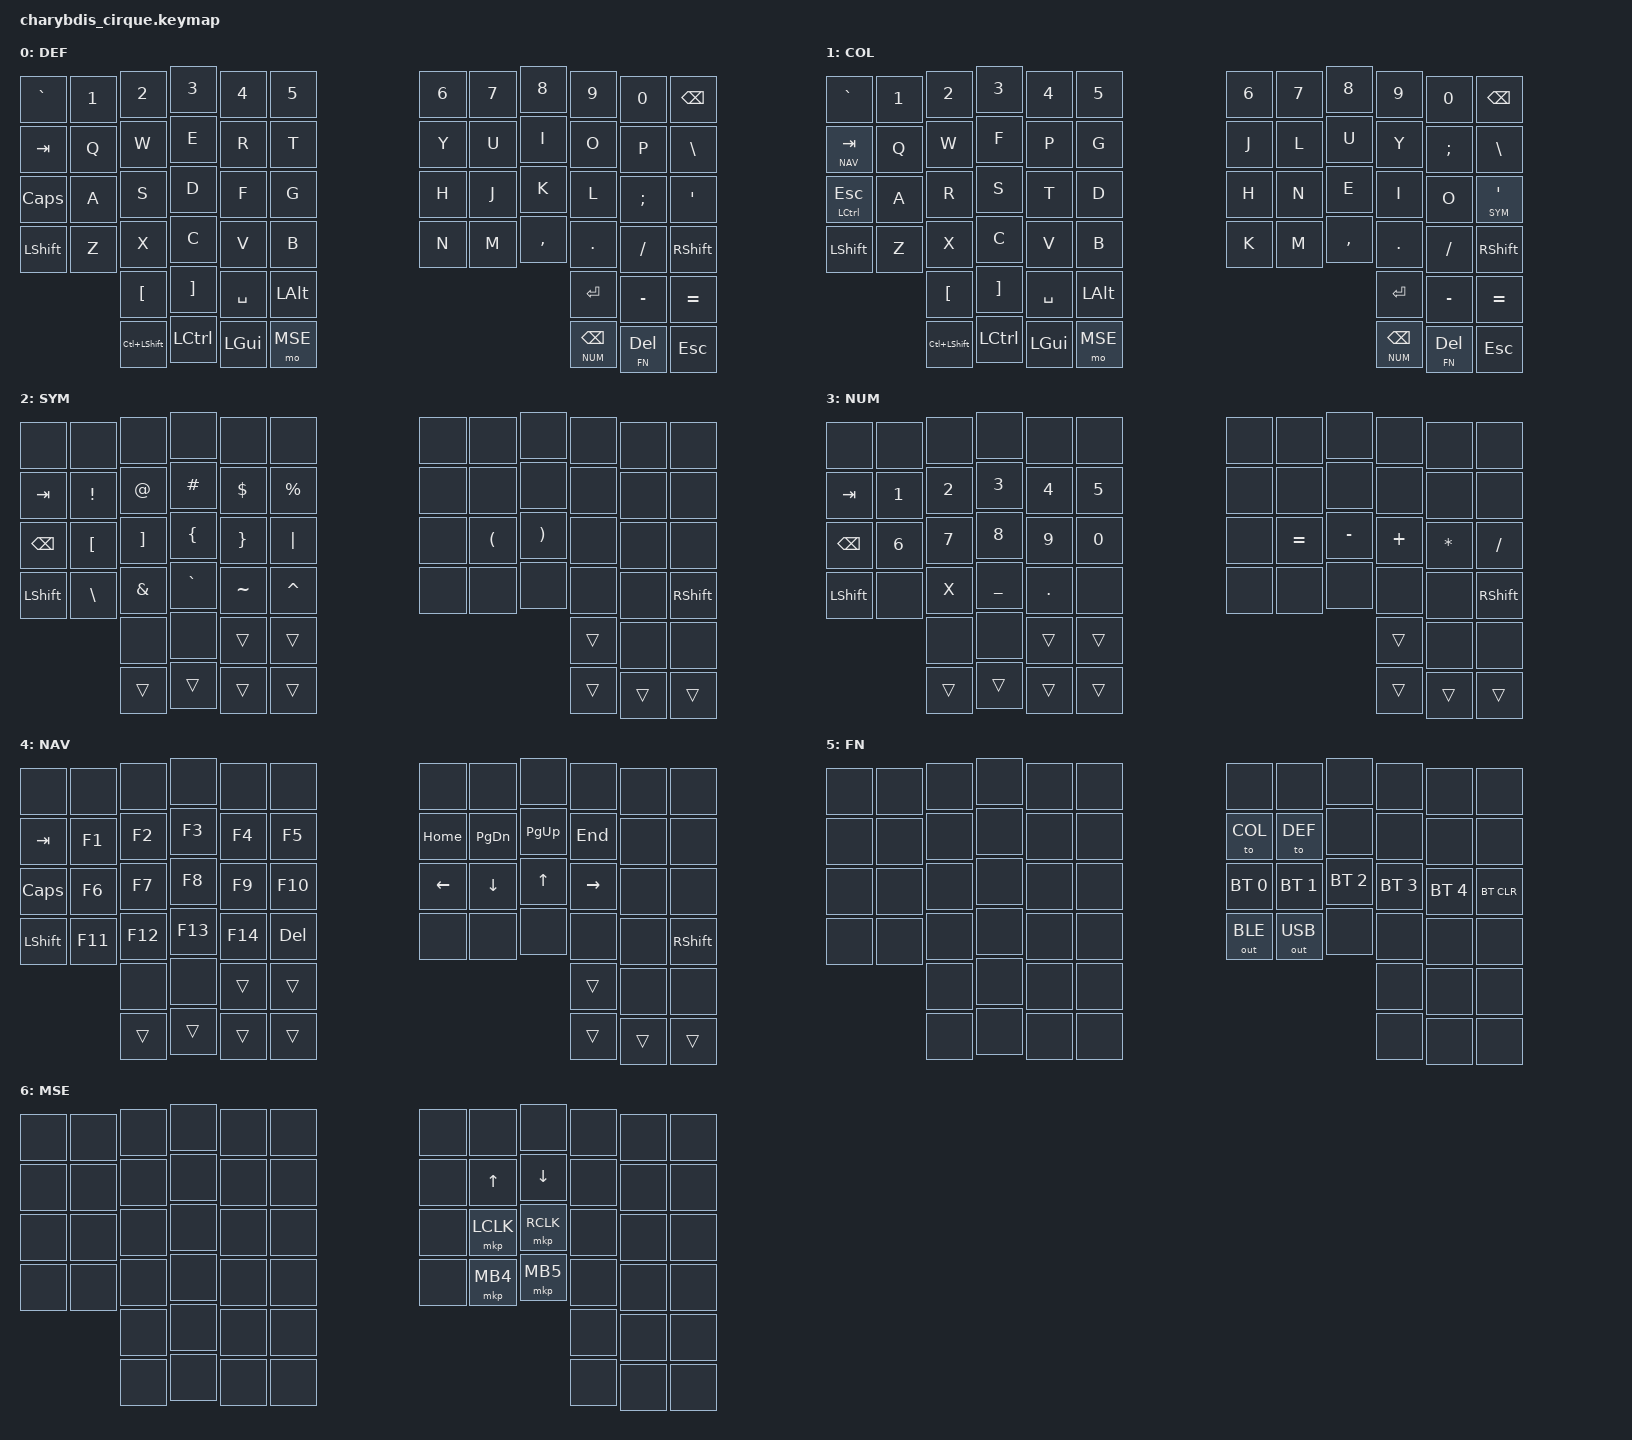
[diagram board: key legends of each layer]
#include <behaviors.dtsi>
#include <dt-bindings/zmk/keys.h>
#include <dt-bindings/zmk/bt.h>
#include <dt-bindings/zmk/outputs.h>

#include <behaviors/mouse_keys.dtsi>
#include <behaviors/mouse_move.dtsi>
#include <dt-bindings/zmk/mouse.h>
#include <input/processors.dtsi>


// mouse move settings
/* #define MMV_U MOVE_VERT(-650) */
/* #define MMV_D MOVE_VERT(650) */
/* #define MMV_L MOVE_HOR(-651) */
/* #define MMV_R MOVE_HOR(650) */
/**/
/* &mmv { */
/*         time-to-max-speed-ms = <500>; */
/*         acceleration-exponent=<1>; */
/* }; */
/**/
/* // mouse wheel settings */
/* #define MWH_U SCROLL_VERT(15) */
/* #define MWH_D SCROLL_VERT(-15) */
/* #define MWH_L SCROLL_HOR(-15) */
/* #define MWH_R SCROLL_HOR(15) */
/**/
/* &mwh { */
/*         time-to-max-speed-ms = <2000>; */
/*         acceleration-exponent=<0>; */
/* }; */

#define DEF 0
#define COL 1
#define SYM 2
#define NUM 3
#define NAV 4
#define FN  5
#define MSE 6

#define AS(keycode) &as LS(keycode) keycode

/ {
  /*mouse_listener {
      input-processors = <&zip_xy_scaler 3 2>;

      scroller {
          layers = <MSE>;
          input-processors = <&zip_xy_to_scroll_mapper>;
      };
  };

  behaviors {
    ec_s: mouse_scroll {
      compatible = "zmk,behavior-input-two-axis";
      #binding-cells = <1>;
      x-input-code = <INPUT_REL_HWHEEL>;
      y-input-code = <INPUT_REL_WHEEL>;
      time-to-max-speed-ms = <177>;
      acceleration-exponent = <0>;
    };
    rot_enc: sensor_rotate {
      compatible = "zmk,behavior-sensor-rotate";
      #sensor-binding-cells = <0>;
      bindings = <&ec_s MOVE_Y(-37)>, <&ec_s MOVE_Y(37)>;
      tap-ms = <65>;
    };
     // Modified layer tap that supports mouse keys.
    lmkt: layer_tap {
      compatible = "zmk,behavior-hold-tap";
      #binding-cells = <2>;
      flavor = "tap-preferred";
      tapping-term-ms = <200>;
      bindings = <&mo>, <&mkp>;
      display-name = "Layer-Tap";
    };
  };*/

  keymap {
    compatible = "zmk,keymap";
    default_layer {
      label = "DEF";
      bindings = <
&kp GRAVE  &kp N1   &kp N2   &kp N3   &kp N4   &kp N5       &kp N6   &kp N7   &kp N8    &kp N9   &kp N0    &kp BSPC
&kp TAB    &kp Q    &kp W    &kp E    &kp R    &kp T        &kp Y    &kp U    &kp I     &kp O    &kp P     &kp BSLH
&kp CAPS   &kp A    &kp S    &kp D    &kp F    &kp G        &kp H    &kp J    &kp K     &kp L    &kp SEMI  &kp SQT
&kp LSHIFT &kp Z    &kp X    &kp C    &kp V    &kp B        &kp N    &kp M    &kp COMMA &kp DOT  &kp FSLH  &kp RSHIFT
                &kp LBKT   &kp RBKT   &kp SPACE  &kp LALT            &kp ENTER  &kp MINUS  &kp EQUAL
                &kp LC(LSHIFT) &kp LCTRL &kp LGUI &mo MSE            &lt NUM BSPC &lt FN DEL &kp ESC
      >;
      //sensor-bindings = < &rot_enc >;
      /* trackball-bindings = <&tmv>; */
    };

    colmak_layer {
      label = "COL";
      bindings = <
&kp GRAVE     &kp N1   &kp N2   &kp N3   &kp N4   &kp N5       &kp N6   &kp N7   &kp N8    &kp N9   &kp N0    &kp BSPC
&lt NAV TAB   &kp Q    &kp W    &kp F    &kp P    &kp G        &kp J    &kp L    &kp U     &kp Y    &kp SEMI  &kp BSLH
&mt LCTRL ESC &kp A    &kp R    &kp S    &kp T    &kp D        &kp H    &kp N    &kp E     &kp I    &kp O     &lt SYM SQT
&kp LSHIFT    &kp Z    &kp X    &kp C    &kp V    &kp B        &kp K    &kp M    &kp COMMA &kp DOT  &kp FSLH  &kp RSHIFT
                &kp LBKT   &kp RBKT   &kp SPACE  &kp LALT            &kp ENTER  &kp MINUS  &kp EQUAL
                &kp LC(LSHIFT) &kp LCTRL &kp LGUI &mo MSE            &lt NUM BSPC &lt FN DEL &kp ESC
      >;
      /* trackball-bindings = <&tmv>; */
    };

    symbol_layer {
      label = "SYM";
      bindings = <
&none      &none    &none    &none    &none    &none         &none    &none    &none    &none    &none    &none
&kp TAB    &kp EXCL &kp AT   &kp POUND &kp DLLR  &kp PRCNT   &none    &none    &none    &none    &none    &none
&kp BSPC   &kp LBKT &kp RBKT &kp LBRC  &kp RBRC  &kp PIPE    &none    &kp LPAR &kp RPAR &none    &none    &none
&kp LSHIFT &kp BSLH &kp AMPS &kp GRAVE &kp TILDE &kp CARET   &none    &none    &none    &none    &none    &kp RSHIFT
                    &none   &none   &trans  &trans           &trans  &none  &none
                    &trans  &trans  &trans  &trans           &trans  &trans &trans
      >;
      /* trackball-bindings = <&tmv>; */

    };

    num_layer {
      label = "NUM";
      bindings = <
&none      &none    &none    &none    &none    &none        &none    &none    &none     &none    &none     &none
&kp TAB    &kp N1   &kp N2   &kp N3   &kp N4   &kp N5       &none    &none    &none     &none    &none     &none
&kp BSPC   &kp N6   &kp N7   &kp N8   &kp N9   &kp N0       &none    &kp EQUAL &kp MINUS &kp PLUS &kp STAR &kp FSLH
&kp LSHIFT &none    &kp X    &kp UNDER &kp DOT &none        &none    &none    &none     &none    &none     &kp RSHIFT
                    &none   &none   &trans  &trans          &trans  &none  &none
                    &trans  &trans  &trans  &trans          &trans  &trans &trans
      >;
      /* trackball-bindings = <&tmv>; */
    };

    nav_layer {
      label = "NAV";
      bindings = <
&none      &none    &none    &none    &none    &none        &none    &none    &none     &none    &none     &none
&kp TAB    &kp F1   &kp F2   &kp F3   &kp F4   &kp F5       &kp HOME &kp PG_DN &kp PG_UP &kp END  &none    &none
&kp CAPS   &kp F6   &kp F7   &kp F8   &kp F9   &kp F10      &kp LEFT &kp DOWN  &kp UP    &kp RIGHT  &none  &none
&kp LSHIFT &kp F11  &kp F12  &kp F13  &kp F14  &kp DEL      &none    &none    &none     &none    &none     &kp RSHIFT
                    &none   &none   &trans  &trans          &trans  &none  &none
                    &trans  &trans  &trans  &trans          &trans  &trans &trans
      >;
      /* trackball-bindings = <&tmv>; */
    };

    fn_layer {
      label = "FN";
      bindings = <
&none    &none    &none   &none   &none   &none         &none   &none   &none   &none   &none   &none
&none    &none    &none   &none   &none   &none         &to COL &to DEF &none   &none   &none   &none
&none    &none    &none   &none   &none   &none         &bt BT_SEL 0 &bt BT_SEL 1 &bt BT_SEL 2 &bt BT_SEL 3 &bt BT_SEL 4 &bt BT_CLR
&none    &none    &none   &none   &none   &none         &out OUT_BLE &out OUT_USB &none &none &none &none
                  &none   &none   &none   &none                 &none   &none   &none
                  &none   &none   &none   &none                 &none   &none   &none
      >;
      /* trackball-bindings = <&tsl>; */
    };

/* &none    &none    &none   &none   &none   &none        &none   &mwh SCROLL_UP &mmv MOVE_UP &mwh SCROLL_DOWN &none &none */
/* &none    &none    &none   &none   &none   &none        &none   &mmv MOVE_LEFT &mmv MOVE_DOWN &mmv MOVE_RIGHT &none &none */
    mouse_layer {
      label = "MSE";
      bindings = <
&none    &none    &none   &none   &none   &none        &none   &none    &none    &none    &none    &none
&none    &none    &none   &none   &none   &none        &none   &kp UP   &kp DOWN &none    &none  &none
&none    &none    &none   &none   &none   &none        &none   &mkp LCLK &mkp RCLK &none  &none  &none
&none    &none    &none   &none   &none   &none        &none   &mkp MB4  &mkp MB5 &none    &none    &none
                  &none   &none   &none   &none                &none    &none   &none
                  &none   &none   &none   &none                &none    &none    &none
      >;
      /* trackball-bindings = <&tmv>; */
    };

   };
};
